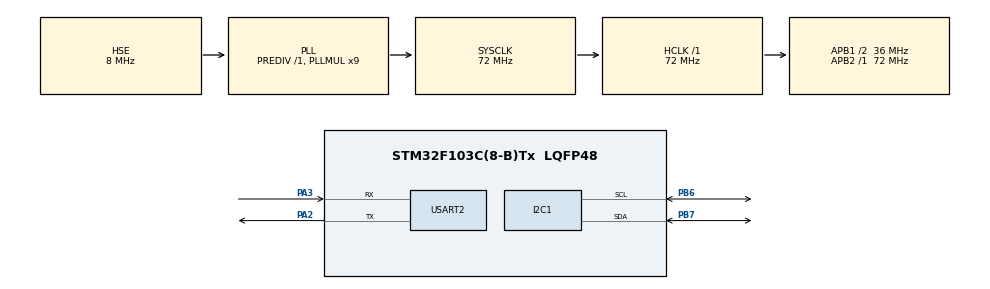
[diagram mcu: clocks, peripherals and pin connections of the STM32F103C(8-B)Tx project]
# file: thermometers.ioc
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Dma.I2C1_RX.0.Direction=DMA_PERIPH_TO_MEMORY
Dma.I2C1_RX.0.Instance=DMA1_Channel7
Dma.I2C1_RX.0.MemDataAlignment=DMA_MDATAALIGN_BYTE
Dma.I2C1_RX.0.MemInc=DMA_MINC_ENABLE
Dma.I2C1_RX.0.Mode=DMA_NORMAL
Dma.I2C1_RX.0.PeriphDataAlignment=DMA_PDATAALIGN_BYTE
Dma.I2C1_RX.0.PeriphInc=DMA_PINC_DISABLE
Dma.I2C1_RX.0.Priority=DMA_PRIORITY_LOW
Dma.I2C1_TX.1.Direction=DMA_MEMORY_TO_PERIPH
Dma.I2C1_TX.1.Instance=DMA1_Channel6
Dma.I2C1_TX.1.MemDataAlignment=DMA_MDATAALIGN_BYTE
Dma.I2C1_TX.1.MemInc=DMA_MINC_ENABLE
Dma.I2C1_TX.1.Mode=DMA_NORMAL
Dma.I2C1_TX.1.PeriphDataAlignment=DMA_PDATAALIGN_BYTE
Dma.I2C1_TX.1.PeriphInc=DMA_PINC_DISABLE
Dma.I2C1_TX.1.Priority=DMA_PRIORITY_LOW
Dma.Request0=I2C1_RX
Dma.Request1=I2C1_TX
I2C1.I2C_Mode=I2C_Fast
Mcu.Family=STM32F1
Mcu.Name=STM32F103C(8-B)Tx
Mcu.Package=LQFP48
NVIC.DMA1_Channel6_IRQn=true\:0\:0\:false\:false\:true\:false\:true\:true
NVIC.DMA1_Channel7_IRQn=true\:0\:0\:false\:false\:true\:false\:true\:true
NVIC.I2C1_ER_IRQn=true\:0\:0\:false\:false\:true\:true\:true\:true
NVIC.I2C1_EV_IRQn=true\:0\:0\:false\:false\:true\:true\:true\:true
NVIC.PriorityGroup=NVIC_PRIORITYGROUP_4
PA13.Mode=Serial_Wire
PA13.Signal=SYS_JTMS-SWDIO
PA14.Mode=Serial_Wire
PA14.Signal=SYS_JTCK-SWCLK
PA2.Mode=Asynchronous
PA2.Signal=USART2_TX
PA3.Mode=Asynchronous
PA3.Signal=USART2_RX
PB6.Mode=I2C
PB6.Signal=I2C1_SCL
PB7.Mode=I2C
PB7.Signal=I2C1_SDA
PD0-OSC_IN.Mode=HSE-External-Oscillator
PD0-OSC_IN.Signal=RCC_OSC_IN
PD1-OSC_OUT.Mode=HSE-External-Oscillator
PD1-OSC_OUT.Signal=RCC_OSC_OUT
ProjectManager.HeapSize=0x200
ProjectManager.StackSize=0x400
ProjectManager.TargetToolchain=CMake
RCC.AHBFreq_Value=72000000
RCC.APB1CLKDivider=RCC_HCLK_DIV2
RCC.APB1Freq_Value=36000000
RCC.APB1TimFreq_Value=72000000
RCC.APB2Freq_Value=72000000
RCC.APB2TimFreq_Value=72000000
RCC.HCLKFreq_Value=72000000
RCC.PLLMUL=RCC_PLL_MUL9
RCC.PLLSourceVirtual=RCC_PLLSOURCE_HSE
RCC.SYSCLKFreq_VALUE=72000000
RCC.SYSCLKSource=RCC_SYSCLKSOURCE_PLLCLK
RCC.USBFreq_Value=72000000
USART2.VirtualMode=VM_ASYNC
board=custom

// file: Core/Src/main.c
/* USER CODE BEGIN Header */
/**
 ******************************************************************************
 * @file           : main.c
 * @brief          : Main program body
 ******************************************************************************
 * @attention
 *
 * Copyright (c) 2025 STMicroelectronics.
 * All rights reserved.
 *
 * This software is licensed under terms that can be found in the LICENSE file
 * in the root directory of this software component.
 * If no LICENSE file comes with this software, it is provided AS-IS.
 *
 ******************************************************************************
 */
/* USER CODE END Header */
#include "main.h"
#include "dma.h"
#include "gpio.h"
#include "i2c.h"
#include "usart.h"

/* USER CODE BEGIN Includes */
#include "aht20.h"
#include "oled.h"
#include <stdio.h>
#include <string.h>

/* USER CODE END Includes */

/* USER CODE BEGIN PV */
float temperature = 0.00;
float humidity = 0.00;

char msg[50];

typedef enum {
  AHT20_INIT_START,
  AHT20_INIT_FINISH,
  AHT_20_MEASURE_START,
  AHT20_MEASURE_FINISH,
  AHT20_READ_START,
  AHT20_READ_FINISH,
  AHT20_ANASLYZE_START,
  AHT20_ANASLYZE_FINISH,
} AHT20_Status_t;

AHT20_Status_t AHT20_Status = AHT20_INIT_START;
/* USER CODE END PV */

void SystemClock_Config(void);

int main(void) {

  /* MCU Configuration--------------------------------------------------------*/

  /* Reset of all peripherals, Initializes the Flash interface and the Systick.
   */
  HAL_Init();

  /* USER CODE BEGIN Init */
  AHT20_Init();
  AHT20_Status = AHT20_INIT_FINISH;
  /* USER CODE END Init */

  /* Configure the system clock */
  SystemClock_Config();

  /* Initialize all configured peripherals */
  MX_GPIO_Init();
  MX_DMA_Init();
  MX_I2C1_Init();
  MX_USART2_UART_Init();
  /* USER CODE BEGIN 2 */
  HAL_Delay(100);
  OLED_Init();
  OLED_Clear();
  OLED_Show_ASCII(" \n Init\n OK", 16);
  OLED_Clear();
  /* USER CODE END 2 */

  /* Infinite loop */
  /* USER CODE BEGIN WHILE */
  while (1) {
    switch (AHT20_Status) {
    case AHT20_INIT_START:
      AHT20_Init();
      AHT20_Status = AHT20_INIT_FINISH;
      break;
    case AHT20_INIT_FINISH:
      AHT20_Status = AHT_20_MEASURE_START;
      break;
    case AHT_20_MEASURE_START:
      AHT20_Measure();
      break;
    case AHT20_MEASURE_FINISH:
      AHT20_Status = AHT20_READ_START;
      break;
    case AHT20_READ_START:
      AHT20_Read();
      break;
    case AHT20_READ_FINISH:
      AHT20_Status = AHT20_ANASLYZE_START;
      break;
    case AHT20_ANASLYZE_START:
      AHT20_Anaslyze(&humidity, &temperature);
      AHT20_Status = AHT20_ANASLYZE_FINISH;
      break;
    case AHT20_ANASLYZE_FINISH:
      sprintf(msg, "\n %.1f%%\n %.1fC", humidity, temperature);
      HAL_Delay(1000);
      OLED_Show_ASCII(msg, 16);
      AHT20_Status = AHT20_INIT_FINISH;
      break;
    default:
      break;
    }
    /* USER CODE END WHILE */

  }
}

void SystemClock_Config(void) {
  RCC_OscInitTypeDef RCC_OscInitStruct = {0};
  RCC_ClkInitTypeDef RCC_ClkInitStruct = {0};

  /** Initializes the RCC Oscillators according to the specified parameters
   * in the RCC_OscInitTypeDef structure.
   */
  RCC_OscInitStruct.OscillatorType = RCC_OSCILLATORTYPE_HSE;
  RCC_OscInitStruct.HSEState = RCC_HSE_ON;
  RCC_OscInitStruct.HSEPredivValue = RCC_HSE_PREDIV_DIV1;
  RCC_OscInitStruct.HSIState = RCC_HSI_ON;
  RCC_OscInitStruct.PLL.PLLState = RCC_PLL_ON;
  RCC_OscInitStruct.PLL.PLLSource = RCC_PLLSOURCE_HSE;
  RCC_OscInitStruct.PLL.PLLMUL = RCC_PLL_MUL9;
  if (HAL_RCC_OscConfig(&RCC_OscInitStruct) != HAL_OK) {
    Error_Handler();
  }

  /** Initializes the CPU, AHB and APB buses clocks
   */
  RCC_ClkInitStruct.ClockType = RCC_CLOCKTYPE_HCLK | RCC_CLOCKTYPE_SYSCLK |
                                RCC_CLOCKTYPE_PCLK1 | RCC_CLOCKTYPE_PCLK2;
  RCC_ClkInitStruct.SYSCLKSource = RCC_SYSCLKSOURCE_PLLCLK;
  RCC_ClkInitStruct.AHBCLKDivider = RCC_SYSCLK_DIV1;
  RCC_ClkInitStruct.APB1CLKDivider = RCC_HCLK_DIV2;
  RCC_ClkInitStruct.APB2CLKDivider = RCC_HCLK_DIV1;

  if (HAL_RCC_ClockConfig(&RCC_ClkInitStruct, FLASH_LATENCY_2) != HAL_OK) {
    Error_Handler();
  }
}

/* USER CODE BEGIN 4 */
void HAL_I2C_MasterTxCpltCallback(I2C_HandleTypeDef *hi2c) {
  if (hi2c->Instance == I2C1) {
    AHT20_Status = AHT20_MEASURE_FINISH;
  }
}

void HAL_I2C_MasterRxCpltCallback(I2C_HandleTypeDef *hi2c) {
  if (hi2c->Instance == I2C1) {
    AHT20_Status = AHT20_READ_FINISH;
  }
}
/* USER CODE END 4 */

void Error_Handler(void) {
  __disable_irq();
  while (1) {
  }
}

#ifdef USE_FULL_ASSERT
/**
 * @brief  Reports the name of the source file and the source line number
 *         where the assert_param error has occurred.
 * @param  file: pointer to the source file name
 * @param  line: assert_param error line source number
 * @retval None
 */
void assert_failed(uint8_t *file, uint32_t line) {
  /* USER CODE BEGIN 6 */
  /* User can add his own implementation to report the file name and line
     number, ex: printf("Wrong parameters value: file %s on line %d\r\n", file,
     line) */
  /* USER CODE END 6 */
}
#endif /* USE_FULL_ASSERT */
